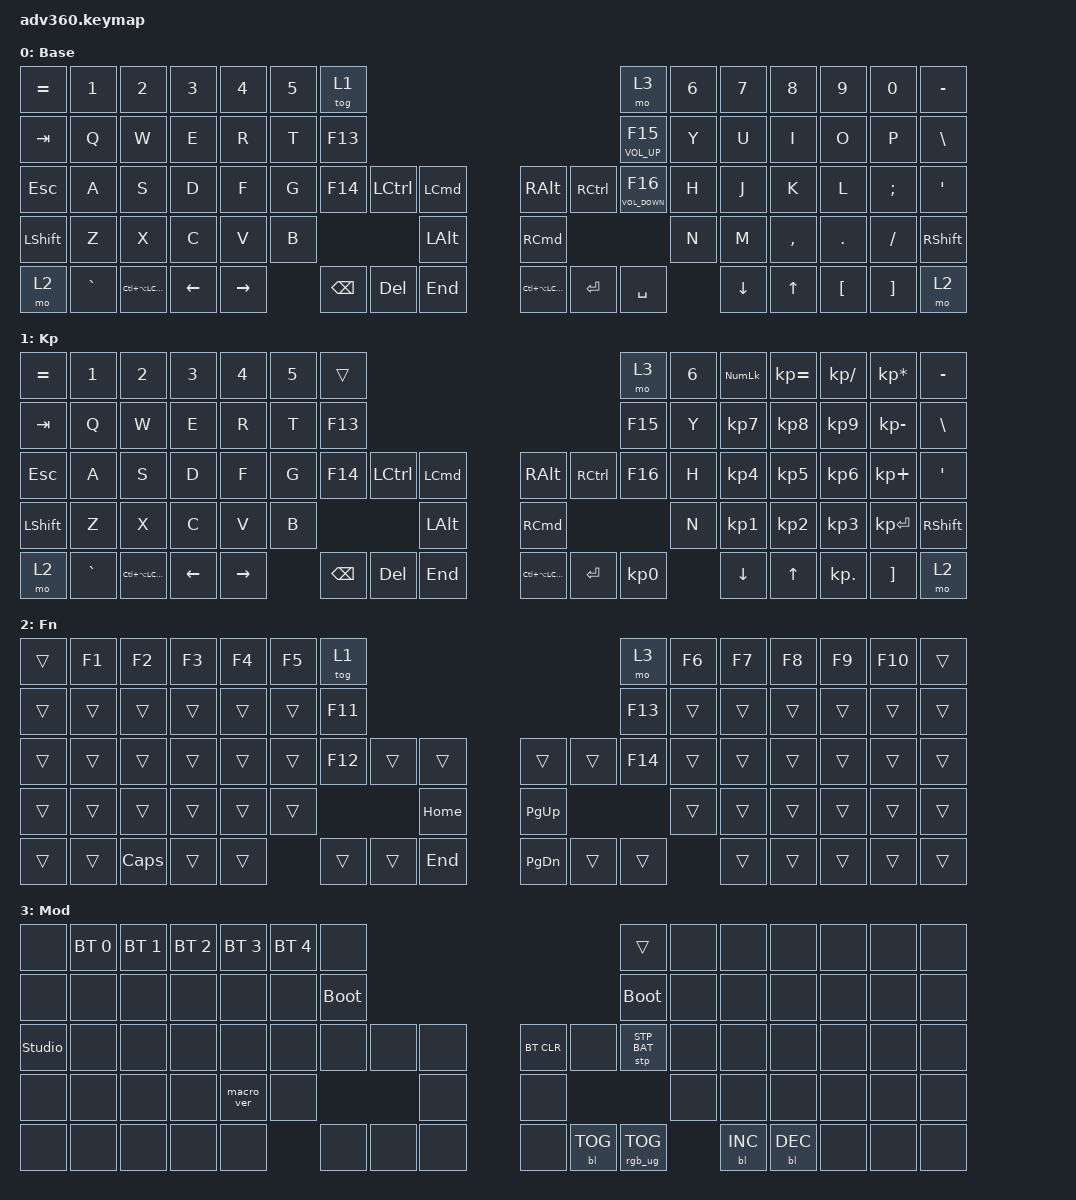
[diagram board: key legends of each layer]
#include <dt-bindings/zmk/stp.h>
#include <behaviors.dtsi>
#include <dt-bindings/zmk/backlight.h>
#include <dt-bindings/zmk/bt.h>
#include <dt-bindings/zmk/keys.h>
#include <dt-bindings/zmk/rgb.h>

/ {
    behaviors {
        #include "macros.dtsi"
      #include "version.dtsi"

        hm: homerow_mods {
            compatible = "zmk,behavior-hold-tap";
            label = "HOMEROW_MODS";
            #binding-cells = <2>;
            tapping-term-ms = <200>;
            quick_tap_ms = <175>;
            flavor = "tap-preferred";
            bindings = <&kp>, <&kp>;
        };
    };

    macros {
        hyperkey_macro: hyperkey_macro {
            compatible = "zmk,behavior-macro";
            #binding-cells = <0>;
            bindings =
                <&macro_press>,
                <&kp LEFT_CONTROL &kp LALT &kp LEFT_GUI>,
                <&macro_release>,
                <&kp LEFT_GUI &kp LALT &kp LEFT_CONTROL>;

            label = "HYPERKEY_MACRO";
        };
    };

    keymap {
        compatible = "zmk,keymap";

        default_layer {
            display-name = "Base";
            bindings = <
&kp EQUAL  &kp N1     &kp N2                    &kp N3    &kp N4     &kp N5  &tog 1                                                                          &mo 3                  &kp N6  &kp N7    &kp N8        &kp N9    &kp N0    &kp MINUS
&kp TAB    &kp Q      &kp W                     &kp E     &kp R      &kp T   &kp F13                                                                         &mt C_VOL_UP F15       &kp Y   &kp U     &kp I         &kp O     &kp P     &kp BSLH
&kp ESC    &kp A      &kp S                     &kp D     &kp F      &kp G   &kp F14   &kp LCTRL  &kp LEFT_COMMAND      &kp RALT                  &kp RCTRL  &mt C_VOLUME_DOWN F16  &kp H   &kp J     &kp K         &kp L     &kp SEMI  &kp SQT
&kp LSHFT  &kp Z      &kp X                     &kp C     &kp V      &kp B                        &kp LEFT_ALT          &kp RIGHT_COMMAND                                           &kp N   &kp M     &kp COMMA     &kp DOT   &kp FSLH  &kp RSHFT
&mo 2      &kp GRAVE  &kp LC(LA(LEFT_COMMAND))  &kp LEFT  &kp RIGHT          &kp BSPC  &kp DEL    &kp END               &kp LC(LA(LEFT_COMMAND))  &kp ENTER  &kp SPACE                      &kp DOWN  &kp UP_ARROW  &kp LBKT  &kp RBKT  &mo 2
            >;
        };

        keypad {
            display-name = "Kp";
            bindings = <
&kp EQUAL  &kp N1     &kp N2                    &kp N3    &kp N4     &kp N5  &trans                                                                          &mo 3      &kp N6  &kp KP_NUM  &kp KP_EQUAL  &kp KP_DIVIDE  &kp KP_MULTIPLY  &kp MINUS
&kp TAB    &kp Q      &kp W                     &kp E     &kp R      &kp T   &kp F13                                                                         &kp F15    &kp Y   &kp KP_N7   &kp KP_N8     &kp KP_N9      &kp KP_MINUS     &kp BSLH
&kp ESC    &kp A      &kp S                     &kp D     &kp F      &kp G   &kp F14   &kp LCTRL  &kp LEFT_COMMAND      &kp RIGHT_ALT             &kp RCTRL  &kp F16    &kp H   &kp KP_N4   &kp KP_N5     &kp KP_N6      &kp KP_PLUS      &kp SQT
&kp LSHFT  &kp Z      &kp X                     &kp C     &kp V      &kp B                        &kp LEFT_ALT          &kp RIGHT_COMMAND                               &kp N   &kp KP_N1   &kp KP_N2     &kp KP_N3      &kp KP_ENTER     &kp RSHFT
&mo 2      &kp GRAVE  &kp LC(LA(LEFT_COMMAND))  &kp LEFT  &kp RIGHT          &kp BSPC  &kp DEL    &kp END               &kp LC(LA(LEFT_COMMAND))  &kp ENTER  &kp KP_N0          &kp DOWN    &kp UP_ARROW  &kp KP_DOT     &kp RBKT         &mo 2
            >;
        };

        fn {
            display-name = "Fn";
            bindings = <
&trans  &kp F1  &kp F2    &kp F3  &kp F4  &kp F5  &tog 1                                                &mo 3    &kp F6  &kp F7  &kp F8  &kp F9  &kp F10  &trans
&trans  &trans  &trans    &trans  &trans  &trans  &kp F11                                               &kp F13  &trans  &trans  &trans  &trans  &trans   &trans
&trans  &trans  &trans    &trans  &trans  &trans  &kp F12  &trans  &trans        &trans         &trans  &kp F14  &trans  &trans  &trans  &trans  &trans   &trans
&trans  &trans  &trans    &trans  &trans  &trans                   &kp HOME      &kp PAGE_UP                     &trans  &trans  &trans  &trans  &trans   &trans
&trans  &trans  &kp CAPS  &trans  &trans          &trans   &trans  &kp END       &kp PAGE_DOWN  &trans  &trans           &trans  &trans  &trans  &trans   &trans
            >;
        };

        mod {
            display-name = "Mod";
            bindings = <
&none           &bt BT_SEL 0  &bt BT_SEL 1  &bt BT_SEL 2  &bt BT_SEL 3  &bt BT_SEL 4  &none                                                  &trans           &none  &none       &none       &none  &none  &none
&none           &none         &none         &none         &none         &none         &bootloader                                            &bootloader      &none  &none       &none       &none  &none  &none
&studio_unlock  &none         &none         &none         &none         &none         &none        &none  &none      &bt BT_CLR  &none       &stp STP_BAT     &none  &none       &none       &none  &none  &none
&none           &none         &none         &none         &macro_ver    &none                             &none      &none                                    &none  &none       &none       &none  &none  &none
&none           &none         &none         &none         &none                       &none        &none  &none      &none       &bl BL_TOG  &rgb_ug RGB_TOG         &bl BL_INC  &bl BL_DEC  &none  &none  &none
            >;
        };

        extra1 {
            display-name = "Red";
            status = "reserved";
        };

        extra2 {
            display-name = "Purple";
            status = "reserved";
        };

        extra3 {
            display-name = "Cyan";
            status = "reserved";
        };

        extra4 {
            display-name = "Yellow";
            status = "reserved";
        };
    };
};
